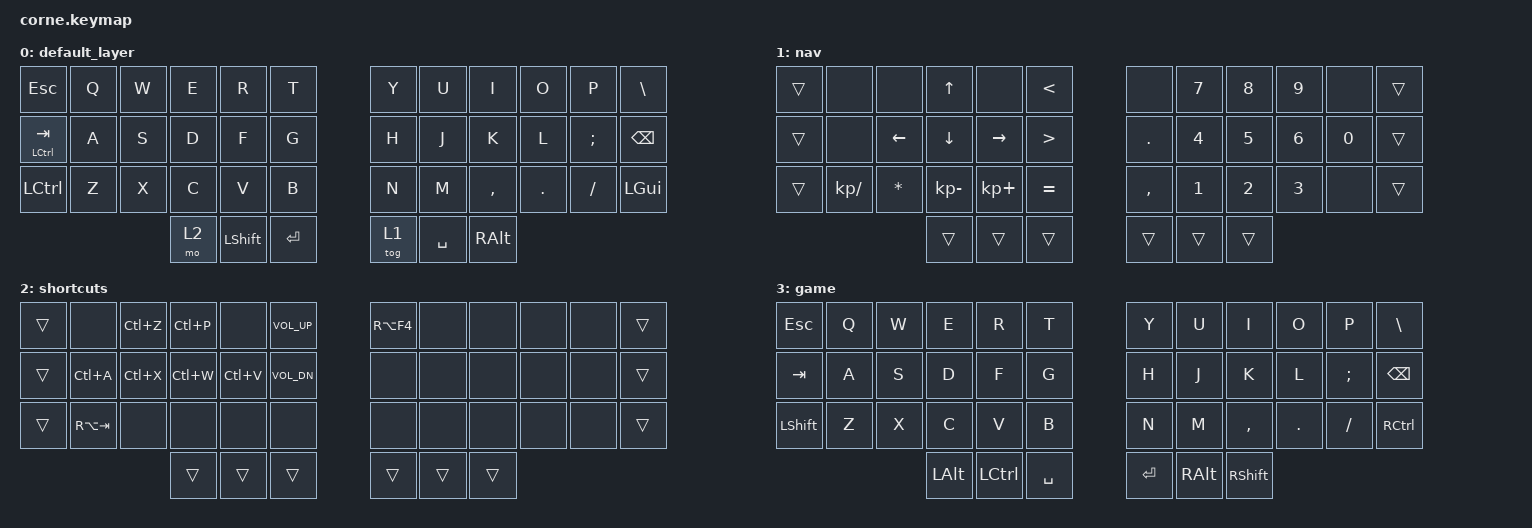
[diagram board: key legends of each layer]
/*
 * Copyright (c) 2020 The ZMK Contributors
 *
 * SPDX-License-Identifier: MIT
 */

#include <behaviors.dtsi>
#include <dt-bindings/zmk/keys.h>

/ {
    combos {
        compatible = "zmk,combos";

        delete_word {
            bindings = <&kp LC(BACKSPACE)>;
            key-positions = <27 28>;
        };

        capslock {
            bindings = <&kp CAPSLOCK>;
            key-positions = <17 18>;
        };

        desk {
            bindings = <&kp LG(I)>;
            key-positions = <17 29>;
        };

        mute {
            bindings = <&kp C_MUTE>;
            key-positions = <5 17>;
        };

        layer_game {
            bindings = <&tog 3>;
            key-positions = <11 23>;
        };
    };

    keymap {
        compatible = "zmk,keymap";

        default_layer {
            // -----------------------------------------------------------------------------------------
            // |  TAB |  Q  |  W  |  E  |  R  |  T  |   |  Y  |  U   |  I  |  O  |  P  | BSPC |
            // | CTRL |  A  |  S  |  D  |  F  |  G  |   |  H  |  J   |  K  |  L  |  ;  |  '   |
            // | SHFT |  Z  |  X  |  C  |  V  |  B  |   |  N  |  M   |  ,  |  .  |  /  | ESC  |
            //                    | GUI | LWR | SPC |   | ENT | RSE  | ALT |

            bindings = <
&kp ESCAPE        &kp Q  &kp W  &kp E  &kp R           &kp T        &kp Y   &kp U      &kp I          &kp O    &kp P          &kp BACKSLASH
&mt LCTRL TAB     &kp A  &kp S  &kp D  &kp F           &kp G        &kp H   &kp J      &kp K          &kp L    &kp SEMICOLON  &kp BACKSPACE
&kp LEFT_CONTROL  &kp Z  &kp X  &kp C  &kp V           &kp B        &kp N   &kp M      &kp COMMA      &kp DOT  &kp FSLH       &kp LEFT_GUI
                                &mo 2  &kp LEFT_SHIFT  &kp ENTER    &tog 1  &kp SPACE  &kp RIGHT_ALT
            >;
        };

        nav {
            bindings = <
&trans  &none          &none         &kp UP        &none        &kp LESS_THAN       &none       &kp N7        &kp N8        &kp N9        &none         &trans
&trans  &none          &kp LEFT      &kp DOWN      &kp RIGHT    &kp GREATER_THAN    &kp PERIOD  &kp NUMBER_4  &kp NUMBER_5  &kp NUMBER_6  &kp NUMBER_0  &trans
&trans  &kp KP_DIVIDE  &kp ASTERISK  &kp KP_MINUS  &kp KP_PLUS  &kp EQUAL           &kp COMMA   &kp NUMBER_1  &kp NUMBER_2  &kp NUMBER_3  &none         &trans
                                     &trans        &trans       &trans              &trans      &trans        &trans
            >;
        };

        shortcuts {
            bindings = <
&trans  &none        &kp LC(Z)  &kp LC(P)  &none      &kp C_VOLUME_UP    &kp RA(F4)  &none   &none   &none  &none  &trans
&trans  &kp LC(A)    &kp LC(X)  &kp LC(W)  &kp LC(V)  &kp C_VOL_DN       &none       &none   &none   &none  &none  &trans
&trans  &kp RA(TAB)  &none      &none      &none      &none              &none       &none   &none   &none  &none  &trans
                                &trans     &trans     &trans             &trans      &trans  &trans
            >;
        };

        game {
            bindings = <
&kp ESCAPE      &kp Q  &kp W  &kp E         &kp R      &kp T        &kp Y      &kp U          &kp I            &kp O    &kp P          &kp BACKSLASH
&kp TAB         &kp A  &kp S  &kp D         &kp F      &kp G        &kp H      &kp J          &kp K            &kp L    &kp SEMICOLON  &kp BACKSPACE
&kp LEFT_SHIFT  &kp Z  &kp X  &kp C         &kp V      &kp B        &kp N      &kp M          &kp COMMA        &kp DOT  &kp FSLH       &kp RCTRL
                              &kp LEFT_ALT  &kp LCTRL  &kp SPACE    &kp ENTER  &kp RIGHT_ALT  &kp RIGHT_SHIFT
            >;
        };
    };
};
